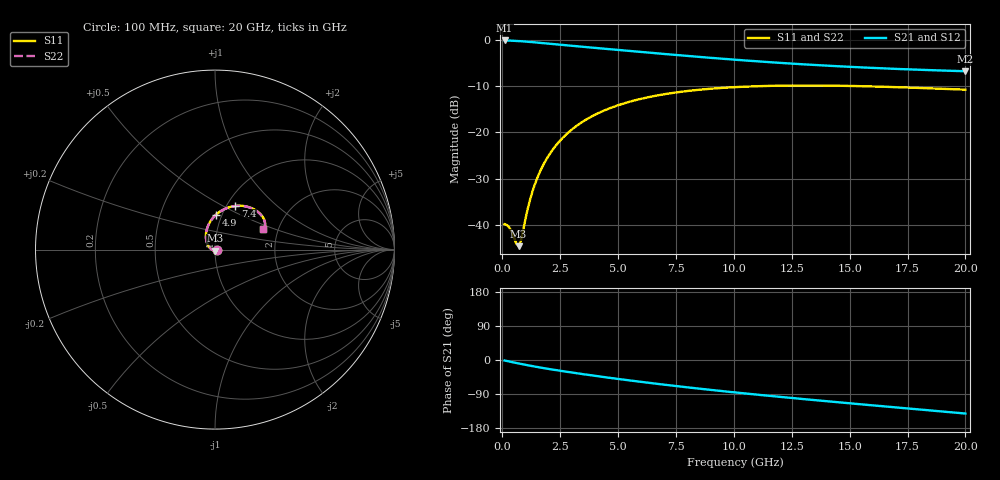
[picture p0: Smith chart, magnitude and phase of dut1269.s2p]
! Touchstone file exported from HFSS 2024.1.0
!  File:  C:/UserFiles/LocalFiles/RDL_TSV_Batchsim/temp_RDL_TSV_1269_1780274668.aedt
!  Generated:  08:57:32 AM Jun  1, 2026
!  Design:  RDL_TSV
!  Project:  temp_RDL_TSV_1269_1780274668
!  Setup:  Setup1
!  Solution:  Sweep
! Variables:
!  dtsv = 12.64um
!  hbump = 3um
!  htsv = 53.59um
!  ldown = 521.13um
!  lrdl = 110.71um
!  p = 40
!  p1 = 50.8um
!  rhole = 10um
!  subl = 2006.23um
!  t = 450um
!  tdown = 3.44um
!  trdl = 4.1um
!  viad = 10um
!  wdown = 26.23um
!  wrdl = 10.57um
!  xbump = 18um
# GHz S MA R 50.000000
! Terminal data exported
! Port[1] = TM1_1_T1
! Port[2] = TM1_4_T1
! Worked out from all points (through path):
!   200 points, 100 MHz to 20 GHz, reference 50 ohm
!   highest |S21| = -0.09 dB at 100 MHz (marker M1); lowest = -6.8 dB at 20 GHz (marker M2)
!   group delay of S21, straight-line fit = 18.5 ps
!   lowest |S11| = -44.6 dB at 700 MHz (marker M3), VSWR 1.01, Z = 49.9 - j0.586 ohm
!   |S11| at or under -10 dB: start of sweep to 10.97 GHz; 15.63 GHz to end of sweep
!   |S22| runs from -44.6 to -9.9 dB; largest |S21 - S12| = 9.1e-15
!   S11 on the Smith chart (normalised r, x): 100 MHz: 1.02, -0.00; 4.9 GHz: 0.94, +0.38; 7.4 GHz: 1.10, +0.58; 20 GHz: 1.67, +0.41
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0.1  0.01017 -5.0  0.9893 -1.4  0.9893 -1.4  0.01017 -5.0
! Gamma 0 0 0 0
! Port Impedance 50 0 50 0
0.3  0.009402 -20.0  0.9861 -4.0  0.9861 -4.0  0.009404 -20.0
0.4  0.008492 -30.8  0.9838 -5.3  0.9838 -5.3  0.008495 -30.8
0.6  0.006308 -66.1  0.9781 -7.8  0.9781 -7.8  0.006313 -66.0
0.7  0.005885 -94.6  0.9748 -9.1  0.9748 -9.1  0.005887 -94.4
0.8  0.006683 -124.7  0.9711 -10.3  0.9711 -10.3  0.006677 -124.6
1.1  0.01498 -174.8  0.9584 -13.9  0.9584 -13.9  0.01495 -174.8
1.3  0.02285 170.1  0.9491 -16.2  0.9491 -16.2  0.02281 170.1
1.5  0.03167 159.7  0.9392 -18.4  0.9392 -18.4  0.03162 159.7
1.8  0.04603 147.8  0.9241 -21.5  0.9241 -21.5  0.04595 147.8
2.1  0.06116 138.4  0.909 -24.6  0.909 -24.6  0.06105 138.4
2.5  0.0818 128.1  0.8894 -28.4  0.8894 -28.4  0.08165 128.1
3  0.1074 117.4  0.8658 -33.1  0.8658 -33.1  0.1072 117.4
3.5  0.132 108.4  0.8434 -37.5  0.8434 -37.5  0.1318 108.4
4.2  0.1642 97.8  0.8136 -43.4  0.8136 -43.4  0.1638 97.7
4.9  0.193 88.8  0.7851 -49.2  0.7851 -49.2  0.1926 88.7
6.8  0.2542 69.8  0.7135 -63.7  0.7135 -63.7  0.2536 69.7
7.4  0.2687 64.9  0.6926 -68.0  0.6926 -68.0  0.268 64.9
10.1  0.3097 47.8  0.611 -85.9  0.611 -85.9  0.3088 47.7
13.4  0.3221 34.0  0.5386 -105.4  0.5386 -105.4  0.321 33.9
16.7  0.3109 25.9  0.4907 -123.5  0.4907 -123.5  0.3097 25.9
20  0.2904 22.9  0.4595 -141.3  0.4595 -141.3  0.289 22.9
